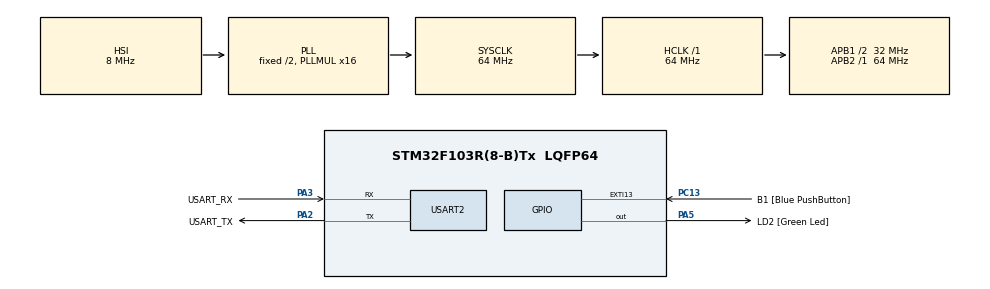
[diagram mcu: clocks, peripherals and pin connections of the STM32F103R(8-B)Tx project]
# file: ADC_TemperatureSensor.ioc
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ADC1.Channel-0\#ChannelRegularConversion=ADC_CHANNEL_TEMPSENSOR
ADC1.ContinuousConvMode=ENABLE
ADC1.NbrOfConversionFlag=1
ADC1.Rank-0\#ChannelRegularConversion=1
ADC1.SamplingTime-0\#ChannelRegularConversion=ADC_SAMPLETIME_13CYCLES_5
ADC1.master=1
Mcu.Family=STM32F1
Mcu.Name=STM32F103R(8-B)Tx
Mcu.Package=LQFP64
NVIC.EXTI15_10_IRQn=true\:0\:0\:false\:false\:true\:true\:true\:true
NVIC.PriorityGroup=NVIC_PRIORITYGROUP_4
PA13.GPIO_Label=TMS
PA13.Mode=Serial_Wire
PA13.Signal=SYS_JTMS-SWDIO
PA14.GPIO_Label=TCK
PA14.Mode=Serial_Wire
PA14.Signal=SYS_JTCK-SWCLK
PA2.GPIO_Label=USART_TX
PA2.GPIO_Mode=GPIO_MODE_AF_PP
PA2.GPIO_PuPd=GPIO_NOPULL
PA2.GPIO_Speed=GPIO_SPEED_FREQ_LOW
PA2.Mode=Asynchronous
PA2.Signal=USART2_TX
PA3.GPIO_Label=USART_RX
PA3.GPIO_Mode=GPIO_MODE_AF_PP
PA3.GPIO_PuPd=GPIO_NOPULL
PA3.GPIO_Speed=GPIO_SPEED_FREQ_LOW
PA3.Mode=Asynchronous
PA3.Signal=USART2_RX
PA5.GPIO_Label=LD2 [Green Led]
PA5.GPIO_ModeDefaultOutputPP=GPIO_MODE_OUTPUT_PP
PA5.GPIO_PuPd=GPIO_NOPULL
PA5.GPIO_Speed=GPIO_SPEED_FREQ_LOW
PA5.Signal=GPIO_Output
PB3.GPIO_Label=SWO
PB3.Signal=SYS_JTDO-TRACESWO
PC13-TAMPER-RTC.GPIO_Label=B1 [Blue PushButton]
PC13-TAMPER-RTC.GPIO_PuPd=GPIO_NOPULL
PC13-TAMPER-RTC.Signal=GPXTI13
PC14-OSC32_IN.Signal=RCC_OSC32_IN
PC15-OSC32_OUT.Signal=RCC_OSC32_OUT
PD0-OSC_IN.Signal=RCC_OSC_IN
PD1-OSC_OUT.Signal=RCC_OSC_OUT
ProjectManager.HeapSize=0x200
ProjectManager.StackSize=0x400
ProjectManager.TargetToolchain=STM32CubeIDE
RCC.ADCPresc=RCC_ADCPCLK2_DIV8
RCC.AHBFreq_Value=64000000
RCC.APB1CLKDivider=RCC_HCLK_DIV2
RCC.APB1Freq_Value=32000000
RCC.APB1TimFreq_Value=64000000
RCC.APB2Freq_Value=64000000
RCC.APB2TimFreq_Value=64000000
RCC.HCLKFreq_Value=64000000
RCC.PLLMUL=RCC_PLL_MUL16
RCC.RTCClockSelection=RCC_RTCCLKSOURCE_LSE
RCC.SYSCLKFreq_VALUE=64000000
RCC.SYSCLKSource=RCC_SYSCLKSOURCE_PLLCLK
RCC.USBFreq_Value=64000000
USART2.VirtualMode=VM_ASYNC
VP_ADC1_TempSens_Input.Mode=IN-TempSens
board=NUCLEO-F103RB

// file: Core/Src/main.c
/* USER CODE BEGIN Header */
/**
  ******************************************************************************
  * @file           : main.c
  * @brief          : Main program body
  ******************************************************************************
  * @attention
  *
  * Copyright (c) 2025 STMicroelectronics.
  * All rights reserved.
  *
  * This software is licensed under terms that can be found in the LICENSE file
  * in the root directory of this software component.
  * If no LICENSE file comes with this software, it is provided AS-IS.
  *
  ******************************************************************************
  */
/* USER CODE END Header */
#include "main.h"

ADC_HandleTypeDef hadc1;

UART_HandleTypeDef huart2;

/* USER CODE BEGIN PV */
const float AVG_SLOPE = 4.3E-03;
const float V25 = 1.43;
const float ADC_TO_VOLT = 3.3/4096;
/* USER CODE END PV */

void SystemClock_Config(void);
static void MX_GPIO_Init(void);
static void MX_USART2_UART_Init(void);
static void MX_ADC1_Init(void);

/* USER CODE BEGIN 0 */
#ifdef __GNUC__
/* With GCC, small printf (option LD Linker->Libraries->Small printf
   set to 'Yes') calls __io_putchar() */
#define PUTCHAR_PROTOTYPE int __io_putchar(int ch)
#else
#define PUTCHAR_PROTOTYPE int fputc(int ch, FILE *f)
#endif /* __GNUC__ */

/**
  * @brief  Retargets the C library printf function to the USART.
  * @param  None
  * @retval None
  */
PUTCHAR_PROTOTYPE
{
  /* Place your implementation of fputc here */
  /* e.g. write a character to the USART3 and Loop until the end of transmission */
	if(ch == '\n')
		HAL_UART_Transmit(&huart2, (uint8_t *) "\r", 1, 0xFFFF);
	HAL_UART_Transmit(&huart2, (uint8_t *) &ch, 1, 0xFFFF);

  return ch;
}
/* USER CODE END 0 */

int main(void)
{

  /* MCU Configuration--------------------------------------------------------*/

  /* Reset of all peripherals, Initializes the Flash interface and the Systick. */
  HAL_Init();

  /* Configure the system clock */
  SystemClock_Config();

  /* Initialize all configured peripherals */
  MX_GPIO_Init();
  MX_USART2_UART_Init();
  MX_ADC1_Init();
  /* USER CODE BEGIN 2 */
  if (HAL_ADCEx_Calibration_Start (&hadc1) != HAL_OK)
  {
	  Error_Handler();
  }

  if(HAL_ADC_Start (&hadc1) != HAL_OK)
  {
	  Error_Handler();
  }
  /* USER CODE END 2 */

  uint16_t adc1;

  float vSense;
  float temp;
  /* Infinite loop */
  while (1)
  {
	  HAL_ADC_PollForConversion (&hadc1, 100);
	  adc1 = HAL_ADC_GetValue (&hadc1);
	  //printf("ADC1_temperature : %d \n", adc1);

	  vSense = adc1 * ADC_TO_VOLT;
	  temp = (V25 - vSense) / AVG_SLOPE + 25.0;
	  printf("temperature: %d, %f \n", adc1, temp);

	  HAL_Delay(100);
  }
}

void SystemClock_Config(void)
{
  RCC_OscInitTypeDef RCC_OscInitStruct = {0};
  RCC_ClkInitTypeDef RCC_ClkInitStruct = {0};
  RCC_PeriphCLKInitTypeDef PeriphClkInit = {0};

  /** Initializes the RCC Oscillators according to the specified parameters
  * in the RCC_OscInitTypeDef structure.
  */
  RCC_OscInitStruct.OscillatorType = RCC_OSCILLATORTYPE_HSI;
  RCC_OscInitStruct.HSIState = RCC_HSI_ON;
  RCC_OscInitStruct.HSICalibrationValue = RCC_HSICALIBRATION_DEFAULT;
  RCC_OscInitStruct.PLL.PLLState = RCC_PLL_ON;
  RCC_OscInitStruct.PLL.PLLSource = RCC_PLLSOURCE_HSI_DIV2;
  RCC_OscInitStruct.PLL.PLLMUL = RCC_PLL_MUL16;
  if (HAL_RCC_OscConfig(&RCC_OscInitStruct) != HAL_OK)
  {
    Error_Handler();
  }

  /** Initializes the CPU, AHB and APB buses clocks
  */
  RCC_ClkInitStruct.ClockType = RCC_CLOCKTYPE_HCLK|RCC_CLOCKTYPE_SYSCLK
                              |RCC_CLOCKTYPE_PCLK1|RCC_CLOCKTYPE_PCLK2;
  RCC_ClkInitStruct.SYSCLKSource = RCC_SYSCLKSOURCE_PLLCLK;
  RCC_ClkInitStruct.AHBCLKDivider = RCC_SYSCLK_DIV1;
  RCC_ClkInitStruct.APB1CLKDivider = RCC_HCLK_DIV2;
  RCC_ClkInitStruct.APB2CLKDivider = RCC_HCLK_DIV1;

  if (HAL_RCC_ClockConfig(&RCC_ClkInitStruct, FLASH_LATENCY_2) != HAL_OK)
  {
    Error_Handler();
  }
  PeriphClkInit.PeriphClockSelection = RCC_PERIPHCLK_ADC;
  PeriphClkInit.AdcClockSelection = RCC_ADCPCLK2_DIV8;
  if (HAL_RCCEx_PeriphCLKConfig(&PeriphClkInit) != HAL_OK)
  {
    Error_Handler();
  }
}

static void MX_ADC1_Init(void)
{

  ADC_ChannelConfTypeDef sConfig = {0};

  /** Common config
  */
  hadc1.Instance = ADC1;
  hadc1.Init.ScanConvMode = ADC_SCAN_DISABLE;
  hadc1.Init.ContinuousConvMode = ENABLE;
  hadc1.Init.DiscontinuousConvMode = DISABLE;
  hadc1.Init.ExternalTrigConv = ADC_SOFTWARE_START;
  hadc1.Init.DataAlign = ADC_DATAALIGN_RIGHT;
  hadc1.Init.NbrOfConversion = 1;
  if (HAL_ADC_Init(&hadc1) != HAL_OK)
  {
    Error_Handler();
  }

  /** Configure Regular Channel
  */
  sConfig.Channel = ADC_CHANNEL_TEMPSENSOR;
  sConfig.Rank = ADC_REGULAR_RANK_1;
  sConfig.SamplingTime = ADC_SAMPLETIME_13CYCLES_5;
  if (HAL_ADC_ConfigChannel(&hadc1, &sConfig) != HAL_OK)
  {
    Error_Handler();
  }

}

static void MX_USART2_UART_Init(void)
{

  huart2.Instance = USART2;
  huart2.Init.BaudRate = 115200;
  huart2.Init.WordLength = UART_WORDLENGTH_8B;
  huart2.Init.StopBits = UART_STOPBITS_1;
  huart2.Init.Parity = UART_PARITY_NONE;
  huart2.Init.Mode = UART_MODE_TX_RX;
  huart2.Init.HwFlowCtl = UART_HWCONTROL_NONE;
  huart2.Init.OverSampling = UART_OVERSAMPLING_16;
  if (HAL_UART_Init(&huart2) != HAL_OK)
  {
    Error_Handler();
  }

}

static void MX_GPIO_Init(void)
{
  GPIO_InitTypeDef GPIO_InitStruct = {0};

  /* GPIO Ports Clock Enable */
  __HAL_RCC_GPIOC_CLK_ENABLE();
  __HAL_RCC_GPIOD_CLK_ENABLE();
  __HAL_RCC_GPIOA_CLK_ENABLE();
  __HAL_RCC_GPIOB_CLK_ENABLE();

  /*Configure GPIO pin Output Level */
  HAL_GPIO_WritePin(LD2_GPIO_Port, LD2_Pin, GPIO_PIN_RESET);

  /*Configure GPIO pin : B1_Pin */
  GPIO_InitStruct.Pin = B1_Pin;
  GPIO_InitStruct.Mode = GPIO_MODE_IT_RISING;
  GPIO_InitStruct.Pull = GPIO_NOPULL;
  HAL_GPIO_Init(B1_GPIO_Port, &GPIO_InitStruct);

  /*Configure GPIO pin : LD2_Pin */
  GPIO_InitStruct.Pin = LD2_Pin;
  GPIO_InitStruct.Mode = GPIO_MODE_OUTPUT_PP;
  GPIO_InitStruct.Pull = GPIO_NOPULL;
  GPIO_InitStruct.Speed = GPIO_SPEED_FREQ_LOW;
  HAL_GPIO_Init(LD2_GPIO_Port, &GPIO_InitStruct);

  /* EXTI interrupt init*/
  HAL_NVIC_SetPriority(EXTI15_10_IRQn, 0, 0);
  HAL_NVIC_EnableIRQ(EXTI15_10_IRQn);

}

void Error_Handler(void)
{
  __disable_irq();
  while (1)
  {
  }
}
